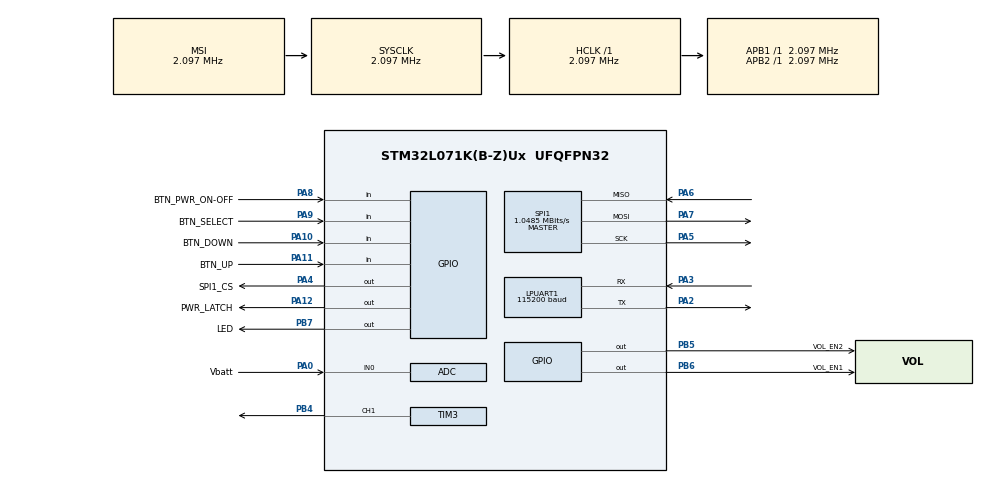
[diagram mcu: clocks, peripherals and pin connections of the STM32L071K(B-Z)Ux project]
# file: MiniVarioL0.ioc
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LPUART1.BaudRate=115200
LPUART1.WordLength=UART_WORDLENGTH_8B
Mcu.Family=STM32L0
Mcu.Name=STM32L071K(B-Z)Ux
Mcu.Package=UFQFPN32
PA0.GPIO_Label=Vbatt
PA0.Mode=IN0
PA0.Signal=ADC_IN0
PA10.GPIO_Label=BTN_DOWN
PA10.GPIO_PuPd=GPIO_PULLUP
PA10.Signal=GPIO_Input
PA11.GPIO_Label=BTN_UP
PA11.GPIO_PuPd=GPIO_PULLUP
PA11.Signal=GPIO_Input
PA12.GPIO_Label=PWR_LATCH
PA12.Signal=GPIO_Output
PA13.Mode=Serial_Wire
PA13.Signal=SYS_SWDIO
PA14.Mode=Serial_Wire
PA14.Signal=SYS_SWCLK
PA2.Mode=Asynchronous
PA2.Signal=LPUART1_TX
PA3.Mode=Asynchronous
PA3.Signal=LPUART1_RX
PA4.GPIO_Label=SPI1_CS
PA4.Signal=GPIO_Output
PA5.Mode=Full_Duplex_Master
PA5.Signal=SPI1_SCK
PA6.Mode=Full_Duplex_Master
PA6.Signal=SPI1_MISO
PA7.Mode=Full_Duplex_Master
PA7.Signal=SPI1_MOSI
PA8.GPIO_Label=BTN_PWR_ON-OFF
PA8.GPIO_PuPd=GPIO_PULLDOWN
PA8.Signal=GPIO_Input
PA9.GPIO_Label=BTN_SELECT
PA9.GPIO_PuPd=GPIO_PULLUP
PA9.Signal=GPIO_Input
PB4.Signal=S_TIM3_CH1
PB5.GPIO_Label=VOL_EN2
PB5.Signal=GPIO_Output
PB6.GPIO_Label=VOL_EN1
PB6.Signal=GPIO_Output
PB7.GPIO_Label=LED
PB7.Signal=GPIO_Output
ProjectManager.HeapSize=0x200
ProjectManager.StackSize=0x400
ProjectManager.TargetToolchain=STM32CubeIDE
RCC.AHBFreq_Value=2097000
RCC.APB1Freq_Value=2097000
RCC.APB1TimFreq_Value=2097000
RCC.APB2Freq_Value=2097000
RCC.APB2TimFreq_Value=2097000
RCC.HSI16_VALUE=16000000
RCC.HSI_VALUE=16000000
RCC.LSE_VALUE=32768
RCC.MSI_VALUE=2097000
RCC.SYSCLKFreq_VALUE=2097000
RCC.VCOOutputFreq_Value=48000000
SH.S_TIM3_CH1.0=TIM3_CH1,PWM Generation1 CH1
SPI1.CalculateBaudRate=1.0485 MBits/s
SPI1.Direction=SPI_DIRECTION_2LINES
SPI1.Mode=SPI_MODE_MASTER
SPI1.VirtualType=VM_MASTER
TIM3.Channel-PWM\ Generation1\ CH1=TIM_CHANNEL_1
board=custom

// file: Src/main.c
/* USER CODE BEGIN Header */
/**
 ******************************************************************************
 * @file           : main.c
 * @brief          : Main program body
 ******************************************************************************
 * @attention
 *
 * <h2><center>&copy; Copyright (c) 2019 STMicroelectronics.
 * All rights reserved.</center></h2>
 *
 * This software component is licensed by ST under BSD 3-Clause license,
 * the "License"; You may not use this file except in compliance with the
 * License. You may obtain a copy of the License at:
 *                        opensource.org/licenses/BSD-3-Clause
 *
 ******************************************************************************
 */
/* USER CODE END Header */

#include "main.h"
#include "adc.h"
#include "usart.h"
#include "spi.h"
#include "tim.h"
#include "gpio.h"
/* USER CODE BEGIN Includes */
#include "stdio.h"
#include "Peripherals/MS56xx.h"
#include "Peripherals/Tone.h"
#include "Peripherals/UserButtons.h"
#include "Peripherals/Power.h"
#include "Middleware/Macro.h"
#include "Middleware/CheckingHardware.h"
#include "Middleware/Vario.h"
/* USER CODE END Includes */

void SystemClock_Config(void);

int main(void)
{

	/* MCU Configuration--------------------------------------------------------*/

	/* Reset of all peripherals, Initializes the Flash interface and the Systick. */
	HAL_Init();

	/* Configure the system clock */
	SystemClock_Config();

	/* Initialize all configured peripherals */
	MX_GPIO_Init();
	MX_SPI1_Init();
	MX_LPUART1_UART_Init();
	MX_ADC_Init();
	MX_TIM3_Init();
	/* USER CODE BEGIN 2 */
#ifdef HARDWARE_TESTING

	checkingHardware(); // Help for new device assembly

	while(1)
	{
		HAL_GPIO_TogglePin(LED_GPIO_Port, LED_Pin);
		HAL_Delay(500);
	}
#endif

	welcome();
	/* USER CODE END 2 */

	/* Infinite loop */
	/* USER CODE BEGIN WHILE */
	while (1)
	{
		varioRun();
		/* USER CODE END WHILE */

	}
}

void SystemClock_Config(void)
{
	RCC_OscInitTypeDef RCC_OscInitStruct = {0};
	RCC_ClkInitTypeDef RCC_ClkInitStruct = {0};
	RCC_PeriphCLKInitTypeDef PeriphClkInit = {0};

	/** Configure the main internal regulator output voltage
	 */
	__HAL_PWR_VOLTAGESCALING_CONFIG(PWR_REGULATOR_VOLTAGE_SCALE1);
	/** Initializes the CPU, AHB and APB busses clocks
	 */
	RCC_OscInitStruct.OscillatorType = RCC_OSCILLATORTYPE_MSI;
	RCC_OscInitStruct.MSIState = RCC_MSI_ON;
	RCC_OscInitStruct.MSICalibrationValue = 0;
	RCC_OscInitStruct.MSIClockRange = RCC_MSIRANGE_5;
	RCC_OscInitStruct.PLL.PLLState = RCC_PLL_NONE;
	if (HAL_RCC_OscConfig(&RCC_OscInitStruct) != HAL_OK)
	{
		Error_Handler();
	}
	/** Initializes the CPU, AHB and APB busses clocks
	 */
	RCC_ClkInitStruct.ClockType = RCC_CLOCKTYPE_HCLK|RCC_CLOCKTYPE_SYSCLK
			|RCC_CLOCKTYPE_PCLK1|RCC_CLOCKTYPE_PCLK2;
	RCC_ClkInitStruct.SYSCLKSource = RCC_SYSCLKSOURCE_MSI;
	RCC_ClkInitStruct.AHBCLKDivider = RCC_SYSCLK_DIV1;
	RCC_ClkInitStruct.APB1CLKDivider = RCC_HCLK_DIV1;
	RCC_ClkInitStruct.APB2CLKDivider = RCC_HCLK_DIV1;

	if (HAL_RCC_ClockConfig(&RCC_ClkInitStruct, FLASH_LATENCY_0) != HAL_OK)
	{
		Error_Handler();
	}
	PeriphClkInit.PeriphClockSelection = RCC_PERIPHCLK_LPUART1;
	PeriphClkInit.Lpuart1ClockSelection = RCC_LPUART1CLKSOURCE_PCLK1;
	if (HAL_RCCEx_PeriphCLKConfig(&PeriphClkInit) != HAL_OK)
	{
		Error_Handler();
	}
}

void Error_Handler(void)
{
}

/************************ (C) COPYRIGHT STMicroelectronics *****END OF FILE****/
